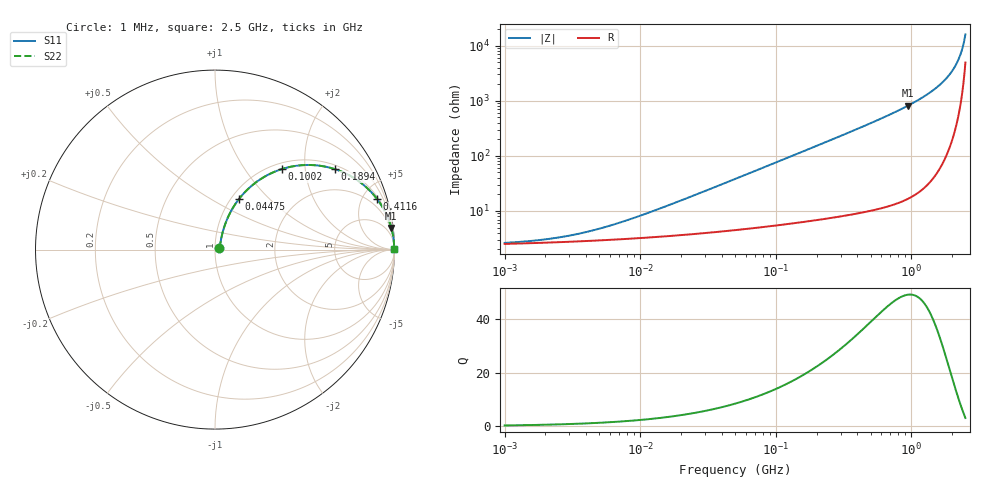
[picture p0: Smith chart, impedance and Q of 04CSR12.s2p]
# MHz  S  MA  R  50
!Freq  MagS11  AngS11  MagS21  AngS21  MagS12  AngS12  MagS22  AngS22
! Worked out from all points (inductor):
!   788 points, 1 MHz to 2.5 GHz, reference 50 ohm
!   read as one part in series: L = 120 nH near 13.56 MHz
!   highest Q = 49 at 940 MHz (marker M1), where L = 137 nH
!   S11 on the Smith chart (normalised r, x): 1 MHz: 1.05, +0.02; 44.75 MHz: 1.09, +0.67; 100.2 MHz: 1.11, +1.51; 189.4 MHz: 1.13, +2.87; 411.6 MHz: 1.18, +6.36; 2.5 GHz: open
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1  0.02569 16.2  0.9754 -0.4  0.9754 -0.4  0.02569 16.2
2.026831  0.02988 29.0  0.974 -0.9  0.974 -0.9  0.02988 29.0
3.718959  0.03868 43.2  0.9722 -1.6  0.9722 -1.6  0.03868 43.2
6.689326  0.05707 56.2  0.9694 -2.8  0.9694 -2.8  0.05707 56.2
13.69372  0.1046 66.1  0.9624 -5.7  0.9624 -5.7  0.1046 66.1
27.20797  0.1972 68.1  0.9444 -11.2  0.9444 -11.2  0.1972 68.1
44.74709  0.3102 64.7  0.9117 -17.9  0.9117 -17.9  0.3102 64.7
50.42214  0.3444 63.3  0.8993 -20.0  0.8993 -20.0  0.3444 63.3
100.1835  0.5844 50.2  0.7706 -35.7  0.7706 -35.7  0.5844 50.2
136.3825  0.6984 42.5  0.6763 -44.2  0.6763 -44.2  0.6984 42.5
185.6612  0.7978 34.5  0.5665 -52.8  0.5665 -52.8  0.7978 34.5
189.393  0.8034 34.0  0.5592 -53.4  0.5592 -53.4  0.8034 34.0
279.1885  0.8928 24.8  0.4192 -63.2  0.4192 -63.2  0.8928 24.8
411.5581  0.9462 17.3  0.2975 -71.1  0.2975 -71.1  0.9462 17.3
683.6301  0.9802 10.2  0.1775 -78.5  0.1775 -78.5  0.9802 10.2
939.9509  0.99 7.0  0.1221 -81.8  0.1221 -81.8  0.99 7.0
1413.453  0.9961 3.8  0.06694 -84.8  0.06694 -84.8  0.9961 3.8
1867.583  0.9978 2.0  0.03578 -85.5  0.03578 -85.5  0.9978 2.0
2062.974  0.998 1.5  0.02543 -84.9  0.02543 -84.9  0.998 1.5
2233.905  0.9981 1.0  0.01734 -83.3  0.01734 -83.3  0.9981 1.0
2347.857  0.9981 0.7  0.01238 -80.9  0.01238 -80.9  0.9981 0.7
2500  0.998 0.3  0.006266 -71.6  0.006266 -71.6  0.998 0.3
